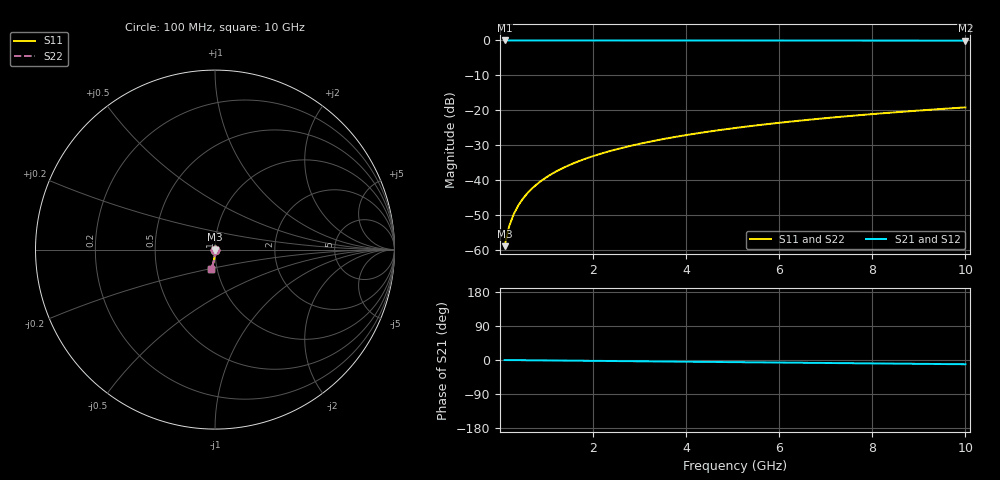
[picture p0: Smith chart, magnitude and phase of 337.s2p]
# Hz S RI R 50.00
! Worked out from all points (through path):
!   100 points, 100 MHz to 10 GHz, reference 50 ohm
!   highest |S21| = 0.00 dB at 100 MHz (marker M1); lowest = -0.1 dB at 10 GHz (marker M2)
!   group delay of S21, straight-line fit = 3.12 ps
!   lowest |S11| = -58.8 dB at 100 MHz (marker M3), VSWR 1.00, Z = 50 - j0.111 ohm
!   |S11| at or under -10 dB: start of sweep to end of sweep
!   |S22| runs from -58.8 to -19.1 dB; largest |S21 - S12| = 0
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1e8  0.000286 -0.00111  0.9997 -0.00196  0.9997 -0.00196  0.000286 -0.00111
2e8  0.00028 -0.00222  0.9997 -0.00391  0.9997 -0.00391  0.00028 -0.00222
3e8  0.000269 -0.00333  0.9997 -0.00587  0.9997 -0.00587  0.000269 -0.00333
4e8  0.000254 -0.00443  0.9997 -0.00782  0.9997 -0.00782  0.000254 -0.00443
5e8  0.000234 -0.00554  0.9996 -0.00978  0.9996 -0.00978  0.000234 -0.00554
6e8  0.000209 -0.00665  0.9996 -0.0117  0.9996 -0.0117  0.000209 -0.00665
7e8  0.00018 -0.00776  0.9996 -0.0137  0.9996 -0.0137  0.00018 -0.00776
8e8  0.000147 -0.00887  0.9995 -0.0156  0.9995 -0.0156  0.000147 -0.00887
9e8  0.00011 -0.00998  0.9995 -0.0176  0.9995 -0.0176  0.00011 -0.00998
1.1e9  2.12e-05 -0.0122  0.9994 -0.0215  0.9994 -0.0215  2.12e-05 -0.0122
1.4e9  -0.000144 -0.0155  0.9992 -0.0274  0.9992 -0.0274  -0.000144 -0.0155
1.8e9  -0.000425 -0.0199  0.9988 -0.0352  0.9988 -0.0352  -0.000425 -0.0199
2.1e9  -0.000682 -0.0233  0.9985 -0.041  0.9985 -0.041  -0.000682 -0.0233
2.5e9  -0.00109 -0.0277  0.9981 -0.0489  0.9981 -0.0489  -0.00109 -0.0277
2.9e9  -0.00156 -0.0321  0.9975 -0.0567  0.9975 -0.0567  -0.00156 -0.0321
3.4e9  -0.00225 -0.0376  0.9967 -0.0664  0.9967 -0.0664  -0.00225 -0.0376
4.2e9  -0.00357 -0.0464  0.9952 -0.082  0.9952 -0.082  -0.00357 -0.0464
5.1e9  -0.00539 -0.0563  0.993 -0.0995  0.993 -0.0995  -0.00539 -0.0563
5.9e9  -0.0073 -0.065  0.9908 -0.115  0.9908 -0.115  -0.0073 -0.065
6.7e9  -0.00948 -0.0736  0.9882 -0.1304  0.9882 -0.1304  -0.00948 -0.0736
8.4e9  -0.015 -0.0917  0.9818 -0.163  0.9818 -0.163  -0.015 -0.0917
1e10  -0.0213 -0.1083  0.9744 -0.1934  0.9744 -0.1934  -0.0213 -0.1083
